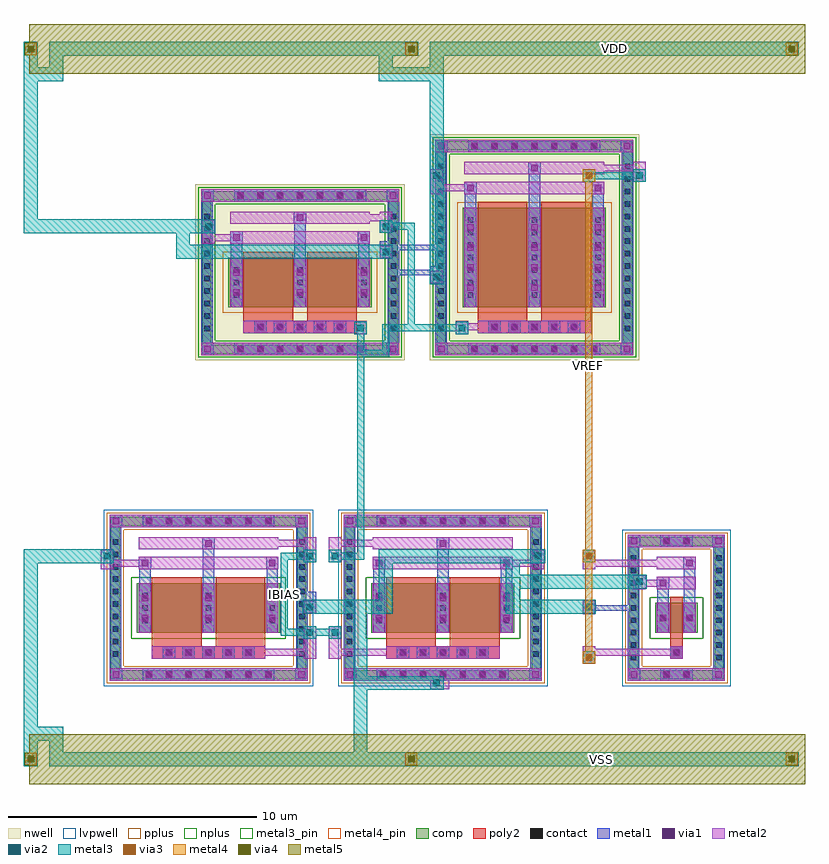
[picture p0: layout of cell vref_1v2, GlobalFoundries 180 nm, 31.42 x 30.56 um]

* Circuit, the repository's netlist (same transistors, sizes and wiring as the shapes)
* 1.2V MOS-only voltage reference, GF180MCU 3.3V, ports VDD VSS VREF IBIAS.
* IBIAS -> diode (XM0) -> mirror (XM0b) -> PMOS diode (XM1) -> output diode
* (XM3). XM3's Vgs IS the reference; sizing tuned for VREF ~ 1.2 V and a
* near-flat temperature coefficient at IBIAS = 20 uA.
.subckt vref_1v2 VDD VSS VREF IBIAS
XM0  IBIAS IBIAS VSS  VSS  nfet_03v3 L=2u W=4u nf=2
XM0b pm   IBIAS VSS  VSS  nfet_03v3 L=2u W=4u nf=2
XM1  pm   pm   VDD  VDD  pfet_03v3 L=2u W=4u nf=2
XM2  vref pm   VDD  VDD  pfet_03v3 L=2u W=8u nf=2
XM3  vref vref VSS  VSS  nfet_03v3 L=0.5u W=1.2u nf=1
.ends

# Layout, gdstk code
import gdstk
lib = gdstk.Library(unit=1e-6, precision=1e-09)
def R(c, l, rs):  # rectangles x0, y0, x1, y1
    for r in rs: c.add(gdstk.rectangle(r[:2], r[2:], *l))
def A(c, l, x, y, w, h, nx, ny, dx, dy):  # array of equal rectangles
    R(c, l, [(x+i*dx, y+j*dy, x+i*dx+w, y+j*dy+h) for i in range(nx) for j in range(ny)])
def P(c, l, *ps):  # polygons
    for p in ps: c.add(gdstk.Polygon(p, *l))
nwell = (21, 0)
comp = (22, 0)
poly2 = (30, 0)
pplus = (31, 0)
nplus = (32, 0)
contact = (33, 0)
metal1 = (34, 0)
via1 = (35, 0)
metal2 = (36, 0)
via2 = (38, 0)
via3 = (40, 0)
via4 = (41, 0)
metal3 = (42, 0)
metal3_pin = (42, 10)
metal4 = (46, 0)
metal4_pin = (46, 10)
metal5 = (81, 0)
lvpwell = (204, 0)

vref_1v2 = lib.new_cell('vref_1v2')
R(vref_1v2, nwell, [(-8.92,13.09,-0.5,20.18), (0.5,13.09,8.92,22.18)])
A(vref_1v2, comp, -10.97, 0.28, 0.36, 0.36, 7, 2, 0.8, 6.17)
A(vref_1v2, comp, -1.55, 0.28, 0.36, 0.36, 7, 2, 0.8, 6.17)
A(vref_1v2, comp, 8.52, 0.965, 0.36, 0.36, 1, 9, 0, 0.5)
A(vref_1v2, comp, 11.96, 0.965, 0.36, 0.36, 1, 9, 0, 0.5)
A(vref_1v2, comp, -12.32, 1.115, 0.36, 0.36, 1, 10, 0, 0.5)
A(vref_1v2, comp, -4.82, 1.115, 0.36, 0.36, 1, 10, 0, 0.5)
A(vref_1v2, comp, -2.9, 1.115, 0.36, 0.36, 1, 10, 0, 0.5)
A(vref_1v2, comp, 4.6, 1.115, 0.36, 0.36, 1, 10, 0, 0.5)
A(vref_1v2, comp, -7.29, 13.37, 0.36, 0.36, 7, 2, 0.8, 6.17)
A(vref_1v2, comp, 2.13, 13.37, 0.36, 0.36, 7, 2, 0.8, 8.17)
A(vref_1v2, comp, -8.64, 14.205, 0.36, 0.36, 1, 10, 0, 0.5)
A(vref_1v2, comp, -1.14, 14.205, 0.36, 0.36, 1, 10, 0, 0.5)
A(vref_1v2, comp, 0.78, 14.205, 0.36, 0.36, 1, 14, 0, 0.5)
A(vref_1v2, comp, 8.28, 14.205, 0.36, 0.36, 1, 14, 0, 0.5)
R(vref_1v2, comp, [(-10.97,0.28,-5.81,0.64), (-1.55,0.28,3.61,0.64), (9.84,0.28,10.2,0.64), (9.84,0.28,11,0.64), (10.64,0.28,11,0.64), (8.52,0.965,8.88,5.325), (11.96,0.965,12.32,5.325), (-12.32,1.115,-11.96,5.975), (-4.82,1.115,-4.46,5.975), (-2.9,1.115,-2.54,5.975), (4.6,1.115,4.96,5.975), (-11.27,2.14,-5.51,4.14), (-1.85,2.14,3.91,4.14), (9.57,2.14,11.27,3.34), (9.84,5.65,10.2,6.01), (9.84,5.65,11,6.01), (10.64,5.65,11,6.01), (-10.97,6.45,-5.81,6.81), (-1.55,6.45,3.61,6.81), (-7.29,13.37,-2.13,13.73), (2.13,13.37,7.29,13.73), (-8.64,14.205,-8.28,19.065), (-1.14,14.205,-0.78,19.065), (0.78,14.205,1.14,21.065), (8.28,14.205,8.64,21.065), (-7.59,15.23,-1.83,17.23), (1.83,15.23,7.59,19.23), (-7.29,19.54,-2.13,19.9), (2.13,21.54,7.29,21.9)])
P(vref_1v2, comp, [(-4.46,6.81),(-12.32,6.81),(-12.32,0.64),(-11.96,0.64),(-11.96,6.45),(-4.82,6.45),(-4.82,0.64),(-11.96,0.64),(-12.32,0.64),(-12.32,0.28),(-4.46,0.28)],
  [(12.32,6.01),(8.52,6.01),(8.52,0.64),(8.88,0.64),(8.88,5.65),(11.96,5.65),(11.96,0.64),(8.88,0.64),(8.52,0.64),(8.52,0.28),(12.32,0.28)],
  [(8.64,21.9),(0.78,21.9),(0.78,13.73),(1.14,13.73),(1.14,21.54),(8.28,21.54),(8.28,13.73),(1.14,13.73),(0.78,13.73),(0.78,13.37),(8.64,13.37)],
  [(-0.78,19.9),(-8.64,19.9),(-8.64,13.73),(-8.28,13.73),(-8.28,19.54),(-1.14,19.54),(-1.14,13.73),(-8.28,13.73),(-8.64,13.73),(-8.64,13.37),(-0.78,13.37)],
  [(4.96,6.81),(-2.9,6.81),(-2.9,0.64),(-2.54,0.64),(-2.54,6.45),(4.6,6.45),(4.6,0.64),(-2.54,0.64),(-2.9,0.64),(-2.9,0.28),(4.96,0.28)])
A(vref_1v2, poly2, -10.17, 1.17, 0.36, 0.36, 5, 1, 0.8, 0)
A(vref_1v2, poly2, -0.75, 1.17, 0.36, 0.36, 5, 1, 0.8, 0)
A(vref_1v2, poly2, -6.49, 14.26, 0.36, 0.36, 5, 1, 0.8, 0)
A(vref_1v2, poly2, 2.93, 14.26, 0.36, 0.36, 5, 1, 0.8, 0)
R(vref_1v2, poly2, [(-10.67,1.1,-6.11,1.6), (-1.25,1.1,3.31,1.6), (10.17,1.1,10.67,1.6), (10.24,1.17,10.6,1.53), (-10.67,1.6,-8.67,1.9), (-8.11,1.6,-6.11,1.9), (-1.25,1.6,0.75,1.9), (1.31,1.6,3.31,1.9), (10.17,1.6,10.67,1.9), (-10.67,1.9,-8.67,4.38), (-8.11,1.9,-6.11,4.38), (-1.25,1.9,0.75,4.38), (1.31,1.9,3.31,4.38), (10.17,1.9,10.67,3.58), (-6.99,14.19,-2.43,14.69), (2.43,14.19,6.99,14.69), (-6.99,14.69,-4.99,14.99), (-4.43,14.69,-2.43,14.99), (2.43,14.69,4.43,14.99), (4.99,14.69,6.99,14.99), (-6.99,14.99,-4.99,17.47), (-4.43,14.99,-2.43,17.47), (2.43,14.99,4.43,19.47), (4.99,14.99,6.99,19.47)])
R(vref_1v2, pplus, [(-7.82,15,-1.6,17.46), (1.6,15,7.82,19.46)])
P(vref_1v2, pplus, [(-4.3,6.97),(-12.48,6.97),(-12.48,0.8),(-11.8,0.8),(-11.8,6.29),(-4.98,6.29),(-4.98,0.8),(-11.8,0.8),(-12.48,0.8),(-12.48,0.12),(-4.3,0.12)],
  [(12.48,6.17),(8.36,6.17),(8.36,0.8),(9.04,0.8),(9.04,5.49),(11.8,5.49),(11.8,0.8),(9.04,0.8),(8.36,0.8),(8.36,0.12),(12.48,0.12)],
  [(5.12,6.97),(-3.06,6.97),(-3.06,0.8),(-2.38,0.8),(-2.38,6.29),(4.44,6.29),(4.44,0.8),(-2.38,0.8),(-3.06,0.8),(-3.06,0.12),(5.12,0.12)])
R(vref_1v2, nplus, [(-11.5,1.91,-5.28,4.37), (-2.08,1.91,4.14,4.37), (9.34,1.91,11.5,3.57)])
P(vref_1v2, nplus, [(8.8,22.06),(0.62,22.06),(0.62,13.89),(1.3,13.89),(1.3,21.38),(8.12,21.38),(8.12,13.89),(1.3,13.89),(0.62,13.89),(0.62,13.21),(8.8,13.21)],
  [(-0.62,20.06),(-8.8,20.06),(-8.8,13.89),(-8.12,13.89),(-8.12,19.38),(-1.3,19.38),(-1.3,13.89),(-8.12,13.89),(-8.8,13.89),(-8.8,13.21),(-0.62,13.21)])
A(vref_1v2, contact, -10.9, 0.35, 0.22, 0.22, 7, 2, 0.8, 6.17)
A(vref_1v2, contact, -1.48, 0.35, 0.22, 0.22, 7, 2, 0.8, 6.17)
A(vref_1v2, contact, 8.59, 1.035, 0.22, 0.22, 1, 9, 0, 0.5)
A(vref_1v2, contact, 12.03, 1.035, 0.22, 0.22, 1, 9, 0, 0.5)
A(vref_1v2, contact, -12.25, 1.185, 0.22, 0.22, 1, 10, 0, 0.5)
A(vref_1v2, contact, -4.75, 1.185, 0.22, 0.22, 1, 10, 0, 0.5)
A(vref_1v2, contact, -2.83, 1.185, 0.22, 0.22, 1, 10, 0, 0.5)
A(vref_1v2, contact, 4.67, 1.185, 0.22, 0.22, 1, 10, 0, 0.5)
A(vref_1v2, contact, -10.1, 1.24, 0.22, 0.22, 5, 1, 0.8, 0)
A(vref_1v2, contact, -0.68, 1.24, 0.22, 0.22, 5, 1, 0.8, 0)
A(vref_1v2, contact, -11.06, 2.53, 0.22, 0.22, 3, 3, 2.56, 0.5)
A(vref_1v2, contact, -1.64, 2.53, 0.22, 0.22, 3, 3, 2.56, 0.5)
A(vref_1v2, contact, -7.22, 13.44, 0.22, 0.22, 7, 2, 0.8, 6.17)
A(vref_1v2, contact, 2.2, 13.44, 0.22, 0.22, 7, 2, 0.8, 8.17)
A(vref_1v2, contact, -8.57, 14.275, 0.22, 0.22, 1, 10, 0, 0.5)
A(vref_1v2, contact, -1.07, 14.275, 0.22, 0.22, 1, 10, 0, 0.5)
A(vref_1v2, contact, 0.85, 14.275, 0.22, 0.22, 1, 14, 0, 0.5)
A(vref_1v2, contact, 8.35, 14.275, 0.22, 0.22, 1, 14, 0, 0.5)
A(vref_1v2, contact, -6.42, 14.33, 0.22, 0.22, 5, 1, 0.8, 0)
A(vref_1v2, contact, 3, 14.33, 0.22, 0.22, 5, 1, 0.8, 0)
A(vref_1v2, contact, -7.38, 15.62, 0.22, 0.22, 3, 3, 2.56, 0.5)
A(vref_1v2, contact, 2.04, 15.62, 0.22, 0.22, 3, 7, 2.56, 0.5)
R(vref_1v2, contact, [(9.91,0.35,10.13,0.57), (10.71,0.35,10.93,0.57), (10.31,1.24,10.53,1.46), (9.78,2.63,10,2.85), (10.84,2.63,11.06,2.85), (9.91,5.72,10.13,5.94), (10.71,5.72,10.93,5.94)])
A(vref_1v2, metal1, -11.04, 0.21, 0.5, 0.5, 7, 2, 0.8, 6.17)
A(vref_1v2, metal1, -1.62, 0.21, 0.5, 0.5, 7, 2, 0.8, 6.17)
A(vref_1v2, metal1, 8.47, 0.915, 0.46, 0.46, 1, 9, 0, 0.5)
A(vref_1v2, metal1, 11.91, 0.915, 0.46, 0.46, 1, 9, 0, 0.5)
A(vref_1v2, metal1, -12.37, 1.065, 0.46, 0.46, 1, 10, 0, 0.5)
A(vref_1v2, metal1, -4.87, 1.065, 0.46, 0.46, 1, 10, 0, 0.5)
A(vref_1v2, metal1, -2.95, 1.065, 0.46, 0.46, 1, 10, 0, 0.5)
A(vref_1v2, metal1, 4.55, 1.065, 0.46, 0.46, 1, 10, 0, 0.5)
A(vref_1v2, metal1, -10.24, 1.1, 0.5, 0.5, 5, 1, 0.8, 0)
A(vref_1v2, metal1, -0.82, 1.1, 0.5, 0.5, 5, 1, 0.8, 0)
A(vref_1v2, metal1, -11.18, 2.14, 0.46, 2, 3, 1, 2.56, 0)
A(vref_1v2, metal1, -1.76, 2.14, 0.46, 2, 3, 1, 2.56, 0)
A(vref_1v2, metal1, -11.18, 2.41, 0.46, 0.46, 3, 3, 2.56, 0.5)
A(vref_1v2, metal1, -1.76, 2.41, 0.46, 0.46, 3, 3, 2.56, 0.5)
A(vref_1v2, metal1, -11.2, 2.49, 0.5, 0.5, 3, 2, 2.56, 0.8)
A(vref_1v2, metal1, -11.2, 2.49, 0.5, 1.3, 3, 1, 2.56, 0)
A(vref_1v2, metal1, -1.78, 2.49, 0.5, 0.5, 3, 2, 2.56, 0.8)
A(vref_1v2, metal1, -1.78, 2.49, 0.5, 1.3, 3, 1, 2.56, 0)
A(vref_1v2, metal1, -7.36, 13.3, 0.5, 0.5, 7, 2, 0.8, 6.17)
A(vref_1v2, metal1, 2.06, 13.3, 0.5, 0.5, 7, 2, 0.8, 8.17)
A(vref_1v2, metal1, -8.69, 14.155, 0.46, 0.46, 1, 10, 0, 0.5)
A(vref_1v2, metal1, -1.19, 14.155, 0.46, 0.46, 1, 10, 0, 0.5)
A(vref_1v2, metal1, 0.73, 14.155, 0.46, 0.46, 1, 14, 0, 0.5)
A(vref_1v2, metal1, 8.23, 14.155, 0.46, 0.46, 1, 14, 0, 0.5)
A(vref_1v2, metal1, -6.56, 14.19, 0.5, 0.5, 5, 1, 0.8, 0)
A(vref_1v2, metal1, 2.86, 14.19, 0.5, 0.5, 5, 1, 0.8, 0)
A(vref_1v2, metal1, -7.5, 15.23, 0.46, 2, 3, 1, 2.56, 0)
A(vref_1v2, metal1, 1.92, 15.23, 0.46, 4, 3, 1, 2.56, 0)
A(vref_1v2, metal1, -7.5, 15.5, 0.46, 0.46, 3, 3, 2.56, 0.5)
A(vref_1v2, metal1, 1.92, 15.5, 0.46, 0.46, 3, 7, 2.56, 0.5)
A(vref_1v2, metal1, -7.52, 15.58, 0.5, 0.5, 3, 2, 2.56, 0.8)
A(vref_1v2, metal1, -7.52, 15.58, 0.5, 1.3, 3, 1, 2.56, 0)
A(vref_1v2, metal1, 1.9, 15.78, 0.5, 0.5, 3, 4, 2.56, 0.8)
A(vref_1v2, metal1, 1.9, 15.78, 0.5, 2.9, 3, 1, 2.56, 0)
R(vref_1v2, metal1, [(-12.37,0.21,-11.87,0.71), (-12.37,0.21,-11.87,0.71), (-12.37,0.21,-11.91,0.64), (-11.04,0.21,-5.74,0.71), (-4.91,0.21,-4.41,0.71), (-4.91,0.21,-4.41,0.71), (-4.87,0.21,-4.41,0.64), (-2.95,0.21,-2.45,0.71), (-2.95,0.21,-2.45,0.71), (-2.95,0.21,-2.49,0.64), (-1.62,0.21,3.68,0.71), (4.51,0.21,5.01,0.71), (4.51,0.21,5.01,0.71), (4.55,0.21,5.01,0.64), (8.47,0.21,8.97,0.71), (8.47,0.21,8.97,0.71), (8.47,0.21,8.93,0.64), (9.77,0.21,10.27,0.71), (9.77,0.21,11.07,0.71), (10.57,0.21,11.07,0.71), (11.87,0.21,12.37,0.71), (11.87,0.21,12.37,0.71), (11.91,0.21,12.37,0.64), (-12.37,0.64,-11.91,6.45), (-4.87,0.64,-4.41,6.45), (-2.95,0.64,-2.49,6.45), (4.55,0.64,5.01,6.45), (8.47,0.64,8.93,5.65), (11.91,0.64,12.37,5.65), (10.17,1.1,10.67,1.6), (9.66,2.14,10.12,3.34), (10.72,2.14,11.18,3.34), (9.64,2.49,10.14,2.99), (9.64,2.49,10.14,2.99), (10.7,2.49,11.2,2.99), (10.7,2.49,11.2,2.99), (9.66,2.51,10.12,2.97), (10.72,2.51,11.18,2.97), (8.47,2.875,8.585,3.025), (6.65,2.89,7.15,3.43), (-4.57,2.93,-4.07,3.79), (-4.57,2.93,-4.07,3.43), (6.65,2.93,7.15,3.43), (6.785,3.025,8.585,3.255), (8.47,3.255,8.585,3.415), (9.66,3.34,10.12,4.39), (10.72,3.34,11.18,5.19), (-4.525,3.425,-4.205,3.655), (-4.57,3.79,-4.41,4.065), (9.64,3.89,10.14,4.39), (-11.18,4.14,-10.72,5.19), (-8.62,4.14,-8.16,5.99), (-6.06,4.14,-5.6,5.19), (-1.76,4.14,-1.3,5.19), (0.8,4.14,1.26,5.99), (3.36,4.14,3.82,5.19), (-11.2,4.69,-10.7,5.19), (-6.08,4.69,-5.58,5.19), (-1.78,4.69,-1.28,5.19), (3.34,4.69,3.84,5.19), (10.7,4.69,11.2,5.19), (-8.64,5.49,-8.14,5.99), (0.78,5.49,1.28,5.99), (8.47,5.58,8.97,6.08), (8.47,5.58,8.97,6.08), (9.77,5.58,10.27,6.08), (9.77,5.58,11.07,6.08), (10.57,5.58,11.07,6.08), (11.87,5.58,12.37,6.08), (11.87,5.58,12.37,6.08), (8.47,5.65,8.93,6.08), (11.91,5.65,12.37,6.08), (-12.37,6.38,-11.87,6.88), (-12.37,6.38,-11.87,6.88), (-11.04,6.38,-5.74,6.88), (-4.91,6.38,-4.41,6.88), (-4.91,6.38,-4.41,6.88), (-2.95,6.38,-2.45,6.88), (-2.95,6.38,-2.45,6.88), (-1.62,6.38,3.68,6.88), (4.51,6.38,5.01,6.88), (4.51,6.38,5.01,6.88), (-12.37,6.45,-11.91,6.88), (-4.87,6.45,-4.41,6.88), (-2.95,6.45,-2.49,6.88), (4.55,6.45,5.01,6.88), (-8.69,13.3,-8.19,13.8), (-8.69,13.3,-8.19,13.8), (-8.69,13.3,-8.23,13.73), (-7.36,13.3,-2.06,13.8), (-1.23,13.3,-0.73,13.8), (-1.23,13.3,-0.73,13.8), (-1.19,13.3,-0.73,13.73), (0.73,13.3,1.23,13.8), (0.73,13.3,1.23,13.8), (0.73,13.3,1.19,13.73), (2.06,13.3,7.36,13.8), (8.19,13.3,8.69,13.8), (8.19,13.3,8.69,13.8), (8.23,13.3,8.69,13.73), (-8.69,13.73,-8.23,19.54), (-1.19,13.73,-0.73,19.54), (0.73,13.73,1.19,21.54), (8.23,13.73,8.69,21.54), (0.73,16.115,1.03,16.19), (0.53,16.19,1.03,16.88), (0.53,16.19,1.03,16.69), (-0.845,16.515,0.895,16.745), (0.73,16.88,1.03,17.155), (-1.19,17.115,-1.01,17.21), (-1.51,17.21,-1.01,17.88), (-1.51,17.21,-1.01,17.71), (-7.5,17.23,-7.04,18.28), (-4.94,17.23,-4.48,19.08), (-2.38,17.23,-1.92,18.28), (-1.375,17.515,0.845,17.745), (-7.52,17.78,-7.02,18.28), (-2.4,17.78,-1.9,18.28), (-1.19,17.88,-1.01,18.155), (-4.96,18.58,-4.46,19.08), (1.92,19.23,2.38,20.28), (4.48,19.23,4.94,21.08), (7.04,19.23,7.5,20.28), (-8.69,19.47,-8.19,19.97), (-8.69,19.47,-8.19,19.97), (-7.36,19.47,-2.06,19.97), (-1.23,19.47,-0.73,19.97), (-1.23,19.47,-0.73,19.97), (-8.69,19.54,-8.23,19.97), (-1.19,19.54,-0.73,19.97), (1.9,19.78,2.4,20.28), (7.02,19.78,7.52,20.28), (4.46,20.58,4.96,21.08), (0.73,21.47,1.23,21.97), (0.73,21.47,1.23,21.97), (2.06,21.47,7.36,21.97), (8.19,21.47,8.69,21.97), (8.19,21.47,8.69,21.97), (0.73,21.54,1.19,21.97), (8.23,21.54,8.69,21.97)])
A(vref_1v2, via1, -10.92, 0.33, 0.26, 0.26, 7, 2, 0.8, 6.17)
A(vref_1v2, via1, -1.5, 0.33, 0.26, 0.26, 7, 2, 0.8, 6.17)
A(vref_1v2, via1, -10.12, 1.22, 0.26, 0.26, 5, 1, 0.8, 0)
A(vref_1v2, via1, -0.7, 1.22, 0.26, 0.26, 5, 1, 0.8, 0)
A(vref_1v2, via1, -11.08, 2.61, 0.26, 0.26, 3, 2, 2.56, 0.8)
A(vref_1v2, via1, -1.66, 2.61, 0.26, 0.26, 3, 2, 2.56, 0.8)
A(vref_1v2, via1, -7.24, 13.42, 0.26, 0.26, 7, 2, 0.8, 6.17)
A(vref_1v2, via1, 2.18, 13.42, 0.26, 0.26, 7, 2, 0.8, 8.17)
A(vref_1v2, via1, -6.44, 14.31, 0.26, 0.26, 5, 1, 0.8, 0)
A(vref_1v2, via1, 2.98, 14.31, 0.26, 0.26, 5, 1, 0.8, 0)
A(vref_1v2, via1, -7.4, 15.7, 0.26, 0.26, 3, 2, 2.56, 0.8)
A(vref_1v2, via1, 2.02, 15.9, 0.26, 0.26, 3, 4, 2.56, 0.8)
R(vref_1v2, via1, [(-12.25,0.33,-11.99,0.59), (-4.79,0.33,-4.53,0.59), (-2.83,0.33,-2.57,0.59), (4.63,0.33,4.89,0.59), (8.59,0.33,8.85,0.59), (9.89,0.33,10.15,0.59), (10.69,0.33,10.95,0.59), (11.99,0.33,12.25,0.59), (10.29,1.22,10.55,1.48), (9.76,2.61,10.02,2.87), (10.82,2.61,11.08,2.87), (-4.45,3.05,-4.19,3.31), (6.77,3.05,7.03,3.31), (9.76,4.01,10.02,4.27), (-11.08,4.81,-10.82,5.07), (-5.96,4.81,-5.7,5.07), (-1.66,4.81,-1.4,5.07), (3.46,4.81,3.72,5.07), (10.82,4.81,11.08,5.07), (-8.52,5.61,-8.26,5.87), (0.9,5.61,1.16,5.87), (8.59,5.7,8.85,5.96), (9.89,5.7,10.15,5.96), (10.69,5.7,10.95,5.96), (11.99,5.7,12.25,5.96), (-12.25,6.5,-11.99,6.76), (-4.79,6.5,-4.53,6.76), (-2.83,6.5,-2.57,6.76), (4.63,6.5,4.89,6.76), (-8.57,13.42,-8.31,13.68), (-1.11,13.42,-0.85,13.68), (0.85,13.42,1.11,13.68), (8.31,13.42,8.57,13.68), (0.65,16.31,0.91,16.57), (-1.39,17.33,-1.13,17.59), (-7.4,17.9,-7.14,18.16), (-2.28,17.9,-2.02,18.16), (-4.84,18.7,-4.58,18.96), (-8.57,19.59,-8.31,19.85), (-1.11,19.59,-0.85,19.85), (2.02,19.9,2.28,20.16), (7.14,19.9,7.4,20.16), (4.58,20.7,4.84,20.96), (0.85,21.59,1.11,21.85), (8.31,21.59,8.57,21.85)])
A(vref_1v2, metal2, -11.04, 0.21, 0.5, 0.5, 7, 2, 0.8, 6.17)
A(vref_1v2, metal2, -1.62, 0.21, 0.5, 0.5, 7, 2, 0.8, 6.17)
A(vref_1v2, metal2, 6.65, 0.89, 0.5, 0.5, 1, 3, 0, 2.04)
A(vref_1v2, metal2, -10.24, 1.1, 0.5, 0.5, 5, 1, 0.8, 0)
A(vref_1v2, metal2, -0.82, 1.1, 0.5, 0.5, 5, 1, 0.8, 0)
A(vref_1v2, metal2, -11.2, 2.14, 0.5, 2, 3, 1, 2.56, 0)
A(vref_1v2, metal2, -1.78, 2.14, 0.5, 2, 3, 1, 2.56, 0)
A(vref_1v2, metal2, -11.2, 2.49, 0.5, 0.5, 3, 2, 2.56, 0.8)
A(vref_1v2, metal2, -1.78, 2.49, 0.5, 0.5, 3, 2, 2.56, 0.8)
A(vref_1v2, metal2, -7.36, 13.3, 0.5, 0.5, 7, 2, 0.8, 6.17)
A(vref_1v2, metal2, 2.06, 13.3, 0.5, 0.5, 7, 2, 0.8, 8.17)
A(vref_1v2, metal2, -6.56, 14.19, 0.5, 0.5, 5, 1, 0.8, 0)
A(vref_1v2, metal2, 2.86, 14.19, 0.5, 0.5, 5, 1, 0.8, 0)
A(vref_1v2, metal2, -7.52, 15.23, 0.5, 2, 3, 1, 2.56, 0)
A(vref_1v2, metal2, 1.9, 15.23, 0.5, 4, 3, 1, 2.56, 0)
A(vref_1v2, metal2, -7.52, 15.58, 0.5, 0.5, 3, 2, 2.56, 0.8)
A(vref_1v2, metal2, 1.9, 15.78, 0.5, 0.5, 3, 4, 2.56, 0.8)
R(vref_1v2, metal2, [(0.53,-0.13,1.28,0.37), (0.53,-0.13,1.03,0.37), (0.89,-0.02,1.17,0.35), (-12.37,0.21,-11.87,0.71), (-12.37,0.21,-11.87,0.71), (-12.37,0.21,-11.96,0.71), (-11.96,0.21,-4.82,0.71), (-4.91,0.21,-4.41,0.71), (-4.91,0.21,-4.41,0.71), (-4.82,0.21,-4.41,0.71), (-2.95,0.21,-2.45,0.71), (-2.95,0.21,-2.45,0.71), (-2.95,0.21,-2.54,0.71), (-2.54,0.21,4.6,0.71), (0.48,0.21,0.53,0.37), (4.51,0.21,5.01,0.71), (4.51,0.21,5.01,0.71), (4.6,0.21,5.01,0.71), (8.47,0.21,8.97,0.71), (8.47,0.21,8.97,0.71), (8.47,0.21,8.88,0.71), (8.88,0.21,11.96,0.71), (9.77,0.21,10.27,0.71), (10.57,0.21,11.07,0.71), (11.87,0.21,12.37,0.71), (11.87,0.21,12.37,0.71), (11.96,0.21,12.37,0.71), (6.65,0.89,7.15,1.6), (-10.67,1.1,-6.11,1.6), (-4.57,1.1,-4.07,2.41), (-3.55,1.1,-3.05,2.41), (-1.25,1.1,3.31,1.6), (10.17,1.1,10.67,1.6), (10.17,1.1,10.67,1.6), (-6.54,1.21,-6.25,1.49), (-6.25,1.21,-4.18,1.49), (-3.44,1.21,-1.11,1.49), (-1.11,1.21,-0.82,1.49), (6.76,1.21,10.31,1.49), (-4.57,1.91,-4.07,2.41), (-3.55,1.91,-3.05,2.41), (9.64,2.14,10.14,3.34), (10.7,2.14,11.2,3.34), (9.64,2.49,10.14,2.99), (10.7,2.49,11.2,2.99), (-4.57,2.93,-4.07,3.43), (8.69,3.89,9.19,4.45), (9.64,3.89,10.14,4.39), (9.64,3.89,11.2,4.39), (8.69,3.95,9.19,4.45), (8.8,4,9.78,4.28), (-12.73,4.69,-12.23,5.47), (-11.2,4.69,-10.7,5.19), (-11.2,4.69,-5.58,5.19), (-6.08,4.69,-5.58,5.19), (-1.78,4.69,-1.28,5.19), (-1.78,4.69,3.84,5.19), (3.34,4.69,3.84,5.19), (4.61,4.69,5.11,5.47), (6.65,4.69,7.15,5.47), (9.64,4.69,11.2,5.19), (10.7,4.69,11.2,5.19), (-12.62,4.8,-11.06,5.08), (3.7,4.8,5,5.08), (6.76,4.8,9.78,5.08), (-12.73,4.97,-12.23,5.47), (-4.57,4.97,-4.07,5.99), (-4.57,4.97,-4.07,5.47), (-3.55,4.97,-3.05,5.99), (-3.55,4.97,-3.05,5.47), (4.61,4.97,5.11,5.47), (-11.2,5.49,-5.58,5.99), (-8.64,5.49,-8.14,5.99), (-1.78,5.49,3.84,5.99), (0.78,5.49,1.28,5.99), (8.47,5.58,8.97,6.08), (8.47,5.58,8.97,6.08), (8.47,5.58,8.88,6.08), (8.88,5.58,11.96,6.08), (9.77,5.58,10.27,6.08), (10.57,5.58,11.07,6.08), (11.87,5.58,12.37,6.08), (11.87,5.58,12.37,6.08), (11.96,5.58,12.37,6.08), (-5.72,5.6,-4.18,5.88), (-3.44,5.6,-1.64,5.88), (-12.37,6.38,-11.87,6.88), (-12.37,6.38,-11.87,6.88), (-12.37,6.38,-11.96,6.88), (-11.96,6.38,-4.82,6.88), (-4.91,6.38,-4.41,6.88), (-4.91,6.38,-4.41,6.88), (-4.82,6.38,-4.41,6.88), (-2.95,6.38,-2.45,6.88), (-2.95,6.38,-2.45,6.88), (-2.95,6.38,-2.54,6.88), (-2.54,6.38,4.6,6.88), (4.51,6.38,5.01,6.88), (4.51,6.38,5.01,6.88), (4.6,6.38,5.01,6.88), (-8.69,13.3,-8.19,13.8), (-8.69,13.3,-8.19,13.8), (-8.69,13.3,-8.28,13.8), (-8.28,13.3,-1.14,13.8), (-1.23,13.3,-0.73,13.8), (-1.23,13.3,-0.73,13.8), (-1.14,13.3,-0.73,13.8), (0.73,13.3,1.23,13.8), (0.73,13.3,1.23,13.8), (0.73,13.3,1.14,13.8), (1.14,13.3,8.28,13.8), (8.19,13.3,8.69,13.8), (8.19,13.3,8.69,13.8), (8.28,13.3,8.69,13.8), (-2.53,14.15,-2.03,14.69), (-2.53,14.15,-2.03,14.65), (1.55,14.15,2.05,14.69), (1.55,14.15,2.05,14.65), (-6.99,14.19,-2.43,14.69), (2.43,14.19,6.99,14.69), (-2.86,14.3,-2.57,14.58), (-2.57,14.3,-2.14,14.58), (1.66,14.3,2.57,14.58), (2.57,14.3,2.86,14.58), (0.53,16.19,1.03,16.69), (-1.51,17.21,-1.01,17.71), (-8.65,17.78,-8.15,18.73), (-7.52,17.78,-7.02,18.28), (-7.52,17.78,-1.9,18.28), (-2.4,17.78,-1.9,18.28), (-8.54,17.89,-7.38,18.17), (-8.65,18.23,-8.15,18.73), (-1.51,18.23,-1.01,19.08), (-1.51,18.23,-1.01,18.73), (-7.52,18.58,-1.9,19.08), (-4.96,18.58,-4.46,19.08), (-2.04,18.69,-1.12,18.97), (-8.69,19.47,-8.19,19.97), (-8.69,19.47,-8.19,19.97), (-8.69,19.47,-8.28,19.97), (-8.28,19.47,-1.14,19.97), (-1.23,19.47,-0.73,19.97), (-1.23,19.47,-0.73,19.97), (-1.14,19.47,-0.73,19.97), (0.53,19.78,1.03,20.77), (1.9,19.78,2.4,20.28), (1.9,19.78,7.52,20.28), (7.02,19.78,7.52,20.28), (0.64,19.89,2.04,20.17), (0.53,20.27,1.03,20.77), (8.69,20.27,9.19,21.08), (8.69,20.27,9.19,20.77), (1.9,20.58,7.52,21.08), (4.46,20.58,4.96,21.08), (7.38,20.69,9.08,20.97), (0.73,21.47,1.23,21.97), (0.73,21.47,1.23,21.97), (0.73,21.47,1.14,21.97), (1.14,21.47,8.28,21.97), (8.19,21.47,8.69,21.97), (8.19,21.47,8.69,21.97), (8.28,21.47,8.69,21.97)])
A(vref_1v2, via2, 6.77, 1.01, 0.26, 0.26, 1, 3, 0, 2.04)
R(vref_1v2, via2, [(0.65,-0.01,0.91,0.25), (-4.45,2.03,-4.19,2.29), (-3.43,2.03,-3.17,2.29), (-4.45,3.05,-4.19,3.31), (8.81,4.07,9.07,4.33), (-12.61,5.09,-12.35,5.35), (-4.45,5.09,-4.19,5.35), (-3.43,5.09,-3.17,5.35), (4.73,5.09,4.99,5.35), (-2.41,14.27,-2.15,14.53), (1.67,14.27,1.93,14.53), (0.65,16.31,0.91,16.57), (-1.39,17.33,-1.13,17.59), (-8.53,18.35,-8.27,18.61), (-1.39,18.35,-1.13,18.61), (0.65,20.39,0.91,20.65), (8.81,20.39,9.07,20.65)])
A(vref_1v2, via3, -15.67, -3.07, 0.26, 0.26, 3, 2, 15.3, 28.56)
R(vref_1v2, via3, [(6.77,1.01,7.03,1.27), (6.77,5.09,7.03,5.35), (6.77,20.39,7.03,20.65)])
A(vref_1v2, via4, -15.67, -3.07, 0.26, 0.26, 3, 2, 15.3, 28.56)
A(vref_1v2, metal3, -15.79, -3.19, 0.5, 0.5, 3, 2, 15.3, 28.56)
A(vref_1v2, metal3, 6.65, 0.89, 0.5, 0.5, 1, 3, 0, 2.04)
R(vref_1v2, metal3, [(-15.82,-3.22,-15.26,5.5), (-14.8,-3.22,0.04,-2.66), (-14.8,-3.22,-14.24,-1.64), (-2.56,-3.22,-2,3.46), (-0.52,-3.22,15.34,-2.66), (-15.82,-2.2,-14.24,-1.64), (-2.56,-0.16,1.06,0.4), (0.53,-0.13,1.03,0.37), (6.65,0.89,7.15,1.39), (-4.57,1.91,-4.07,2.41), (-3.55,1.91,-3.05,2.41), (-5.48,2.02,-4.18,2.3), (-5.48,2.02,-5.2,5.36), (-4.46,2.02,-3.16,2.3), (-4.6,2.9,-2,3.46), (-2.56,2.9,-0.98,3.46), (-1.54,2.9,-0.98,5.5), (3.56,2.9,7.18,3.46), (3.56,2.9,4.12,5.5), (-4.57,2.93,-4.07,3.43), (3.56,3.92,9.22,4.48), (8.69,3.95,9.19,4.45), (-15.82,4.94,-12.2,5.5), (-1.54,4.94,5.14,5.5), (-12.73,4.97,-12.23,5.47), (-4.57,4.97,-4.07,5.47), (-3.55,4.97,-3.05,5.47), (4.61,4.97,5.11,5.47), (6.65,4.97,7.15,5.47), (-5.48,5.08,-4.18,5.36), (-3.44,5.08,-2.14,5.36), (-2.42,5.08,-2.14,14.54), (-2.42,13.24,-1.12,13.52), (-1.4,13.24,-1.12,14.54), (-2.53,14.15,-2.03,14.65), (1.55,14.15,2.05,14.65), (-1.4,14.26,1.94,14.54), (-0.38,14.26,-0.1,18.62), (0.5,16.16,1.06,20.8), (0.53,16.19,1.03,16.69), (-9.7,17.18,-9.14,18.76), (-9.7,17.18,-0.98,17.74), (-1.51,17.21,-1.01,17.71), (-15.82,18.2,-8.12,18.76), (-15.82,18.2,-15.26,25.9), (-8.65,18.23,-8.15,18.73), (-1.51,18.23,-1.01,18.73), (-1.4,18.34,-0.1,18.62), (0.5,20.24,1.06,24.88), (0.53,20.27,1.03,20.77), (6.65,20.27,7.15,20.77), (8.69,20.27,9.19,20.77), (6.76,20.38,9.08,20.66), (-15.82,24.32,-14.24,24.88), (-14.8,24.32,-14.24,25.9), (-1.54,24.32,-0.98,25.9), (-1.54,24.32,1.06,24.88), (0.5,24.32,1.06,25.9), (-14.8,25.34,0.04,25.9), (0.5,25.34,15.34,25.9)])
R(vref_1v2, metal3_pin, [(7.13,-3.22,7.69,-2.66), (-5.48,3.55,-5.2,3.83), (7.64,25.34,8.2,25.9)])
A(vref_1v2, metal4, -15.79, -3.19, 0.5, 0.5, 3, 2, 15.3, 28.56)
R(vref_1v2, metal4, [(6.65,0.89,7.15,1.39), (6.76,1,7.04,5.36), (6.65,4.97,7.15,5.47), (6.76,5.08,7.04,20.66), (6.65,20.27,7.15,20.77)])
R(vref_1v2, metal4_pin, [(6.76,12.73,7.04,13.01)])
A(vref_1v2, metal5, -15.79, -3.19, 0.5, 0.5, 3, 2, 15.3, 28.56)
R(vref_1v2, metal5, [(-15.6,-3.94,15.6,-1.94), (-15.6,24.62,15.6,26.62)])
R(vref_1v2, lvpwell, [(-12.6,0,-4.18,7.09), (-3.18,0,5.24,7.09), (8.24,0,12.6,6.29)])
vref_1v2.add(gdstk.Label('IBIAS', (-5.34,3.69), layer=42, texttype=10))
vref_1v2.add(gdstk.Label('VREF', (6.9,12.87), layer=46, texttype=10))
vref_1v2.add(gdstk.Label('VSS', (7.41,-2.94), layer=42, texttype=10))
vref_1v2.add(gdstk.Label('VDD', (7.92,25.62), layer=42, texttype=10))

lib.write_gds('vref_1v2.gds')
